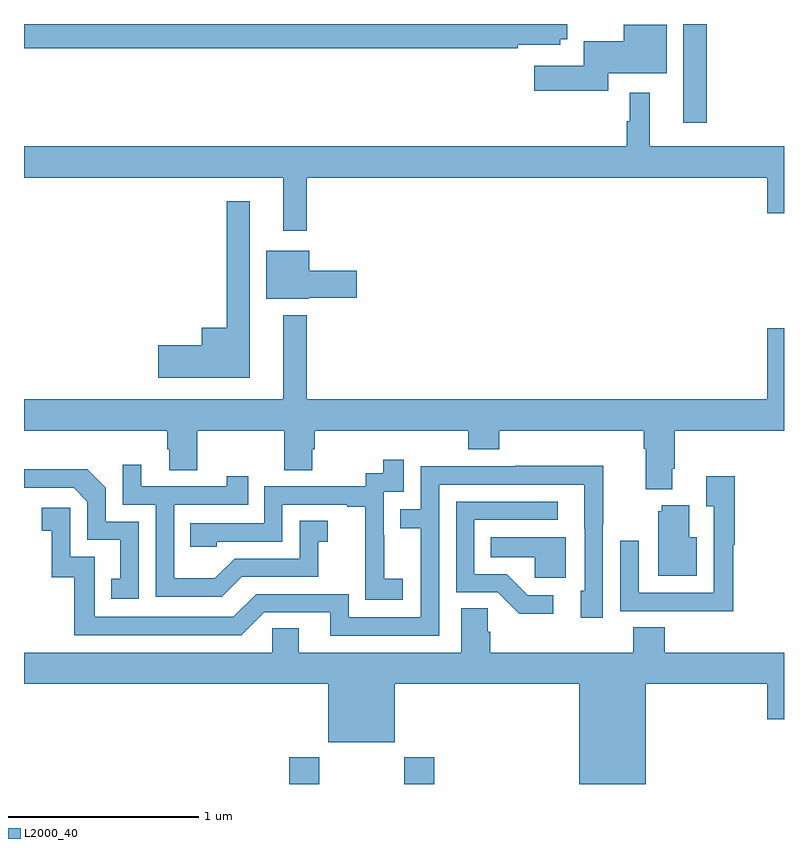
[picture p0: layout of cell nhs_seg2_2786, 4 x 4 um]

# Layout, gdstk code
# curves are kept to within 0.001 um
import gdstk
lib = gdstk.Library(unit=1e-6, precision=1e-09)
def R(c, l, rs):  # rectangles x0, y0, x1, y1
    for r in rs: c.add(gdstk.rectangle(r[:2], r[2:], *l))
def P(c, l, *ps):  # polygons
    for p in ps: c.add(gdstk.Polygon(p, *l))
L2000_40 = (2000, 40)

nhs_seg2_2786 = lib.new_cell('nhs_seg2_2786')
R(nhs_seg2_2786, L2000_40, [(258.395,621.8,258.555,621.94), (259,621.8,259.16,621.94), (260.471,625.281,260.593,625.8)])
P(nhs_seg2_2786, L2000_40, [(259.598,625.692),(259.822,625.692),(259.822,625.721),(259.86,625.721),(259.86,625.8),(257,625.8),(257,625.672),(259.598,625.672)],
  [(260.074,625.541),(260.383,625.541),(260.383,625.795),(260.156,625.795),(260.156,625.708),(259.946,625.708),(259.946,625.579),(259.686,625.579),(259.686,625.45),(260.074,625.45)],
  [(258.487,624.992),(260.912,624.992),(260.912,624.804),(261,624.804),(261,625.156),(260.293,625.156),(260.293,625.438),(260.189,625.438),(260.189,625.289),(260.172,625.289),(260.172,625.156),(257,625.156),(257,624.992),(258.365,624.992),(258.365,624.711),(258.487,624.711)],
  [(258.187,624.868),(258.066,624.868),(258.066,624.202),(257.936,624.202),(257.936,624.11),(257.706,624.11),(257.706,623.939),(258.187,623.939)],
  [(258.498,624.359),(258.751,624.359),(258.751,624.501),(258.502,624.501),(258.502,624.607),(258.275,624.607),(258.275,624.353),(258.498,624.353)],
  [(260.413,623.458),(260.426,623.458),(260.426,623.66),(261,623.66),(261,624.199),(260.912,624.199),(260.912,623.824),(258.487,623.824),(258.487,624.268),(258.365,624.268),(258.365,623.824),(257,623.824),(257,623.66),(257.753,623.66),(257.753,623.562),(257.765,623.562),(257.765,623.452),(257.913,623.452),(257.913,623.66),(258.37,623.66),(258.37,623.452),(258.517,623.452),(258.517,623.562),(258.529,623.562),(258.529,623.66),(259.337,623.66),(259.337,623.561),(259.502,623.561),(259.502,623.66),(260.261,623.66),(260.261,623.564),(260.273,623.564),(260.273,623.351),(260.413,623.351)],
  [(258.994,622.879),(258.896,622.879),(258.896,623.108),(258.894,623.108),(258.894,623.337),(258.999,623.337),(258.999,623.506),(258.891,623.506),(258.891,623.436),(258.798,623.436),(258.798,623.367),(258.264,623.367),(258.264,623.172),(257.875,623.172),(257.875,623.049),(258.015,623.049),(258.015,623.076),(258.36,623.076),(258.36,623.271),(258.701,623.271),(258.701,623.259),(258.797,623.259),(258.797,622.975),(258.796,622.975),(258.796,622.769),(258.994,622.769)],
  [(258.145,622.89),(258.549,622.89),(258.549,623.075),(258.598,623.075),(258.598,623.185),(258.45,623.185),(258.45,622.986),(258.108,622.986),(258.004,622.882),(257.79,622.882),(257.79,623.271),(258.179,623.271),(258.179,623.419),(258.068,623.419),(258.068,623.367),(257.617,623.367),(257.617,623.479),(257.52,623.479),(257.52,623.271),(257.694,623.271),(257.694,622.785),(258.04,622.785)],
  [(259.185,623.376),(259.949,623.376),(259.95,622.818),(259.931,622.818),(259.931,622.674),(260.046,622.674),(260.046,623.167),(260.049,623.167),(260.049,623.474),(259.585,623.474),(259.585,623.472),(259.089,623.472),(259.089,623.247),(258.979,623.247),(258.979,623.146),(259.089,623.146),(259.089,622.677),(258.708,622.677),(258.708,622.8),(258.222,622.8),(258.102,622.68),(257.373,622.68),(257.373,622.995),(257.244,622.995),(257.244,623.254),(257.094,623.254),(257.094,623.133),(257.147,623.133),(257.147,622.887),(257.265,622.887),(257.265,622.584),(258.144,622.584),(258.264,622.704),(258.611,622.704),(258.611,622.581),(259.185,622.581)],
  [(257.604,623.181),(257.43,623.181),(257.43,623.358),(257.332,623.456),(257,623.456),(257,623.358),(257.262,623.358),(257.334,623.286),(257.334,623.085),(257.507,623.085),(257.507,622.881),(257.458,622.881),(257.458,622.776),(257.604,622.776)],
  [(260.732,623.06),(260.74,623.06),(260.74,623.419),(260.591,623.419),(260.591,623.263),(260.631,623.263),(260.631,622.806),(260.235,622.806),(260.235,623.08),(260.139,623.08),(260.139,622.71),(260.455,622.71),(260.455,622.709),(260.732,622.709)],
  [(259.786,622.794),(259.651,622.794),(259.54,622.905),(259.371,622.905),(259.371,623.19),(259.81,623.19),(259.81,623.286),(259.275,623.286),(259.275,622.809),(259.494,622.809),(259.607,622.697),(259.786,622.697)],
  [(260.542,623.098),(260.5,623.098),(260.5,623.266),(260.357,623.266),(260.357,623.235),(260.339,623.235),(260.339,622.895),(260.542,622.895)],
  [(259.852,623.098),(259.456,623.098),(259.456,622.994),(259.687,622.994),(259.687,622.886),(259.852,622.886)],
  [(260.272,622.328),(260.912,622.328),(260.912,622.14),(261,622.14),(261,622.492),(260.372,622.492),(260.372,622.625),(260.207,622.625),(260.207,622.492),(259.454,622.492),(259.454,622.601),(259.44,622.601),(259.44,622.724),(259.301,622.724),(259.301,622.492),(258.445,622.492),(258.445,622.619),(258.306,622.619),(258.306,622.492),(257,622.492),(257,622.328),(258.602,622.328),(258.602,622.019),(258.952,622.019),(258.952,622.328),(259.922,622.328),(259.922,621.8),(260.272,621.8)])

lib.write_gds('nhs_seg2_2786.gds')
